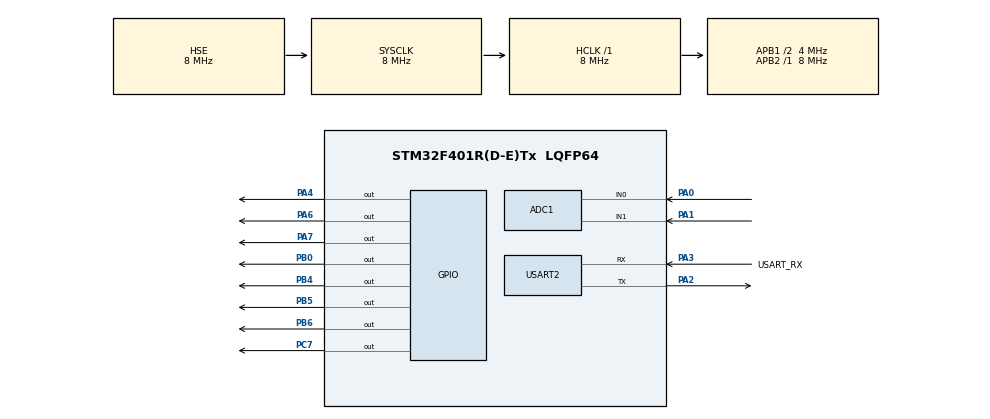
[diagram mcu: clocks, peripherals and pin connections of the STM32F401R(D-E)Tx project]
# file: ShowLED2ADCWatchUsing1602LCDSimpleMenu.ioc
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ADC1.Channel-0\#ChannelRegularConversion=ADC_CHANNEL_0
ADC1.Channel-1\#ChannelRegularConversion=ADC_CHANNEL_1
ADC1.ContinuousConvMode=ENABLE
ADC1.NbrOfConversion=2
ADC1.NbrOfConversionFlag=1
ADC1.Rank-0\#ChannelRegularConversion=1
ADC1.Rank-1\#ChannelRegularConversion=2
ADC1.SamplingTime-0\#ChannelRegularConversion=ADC_SAMPLETIME_15CYCLES
ADC1.SamplingTime-1\#ChannelRegularConversion=ADC_SAMPLETIME_15CYCLES
ADC1.ScanConvMode=ENABLE
ADC1.master=1
Mcu.Family=STM32F4
Mcu.Name=STM32F401R(D-E)Tx
Mcu.Package=LQFP64
NVIC.PriorityGroup=NVIC_PRIORITYGROUP_0
NVIC.USART2_IRQn=true\:0\:0\:false\:false\:true\:true\:true\:true
PA0-WKUP.Signal=ADCx_IN0
PA1.Signal=ADCx_IN1
PA13.Mode=Serial_Wire
PA13.Signal=SYS_JTMS-SWDIO
PA14.Mode=Serial_Wire
PA14.Signal=SYS_JTCK-SWCLK
PA2.Mode=Asynchronous
PA2.Signal=USART2_TX
PA3.GPIO_Label=USART_RX
PA3.GPIO_Mode=GPIO_MODE_AF_PP
PA3.GPIO_PuPd=GPIO_NOPULL
PA3.GPIO_Speed=GPIO_SPEED_FREQ_LOW
PA3.Mode=Asynchronous
PA3.Signal=USART2_RX
PA4.Signal=GPIO_Output
PA6.Signal=GPIO_Output
PA7.Signal=GPIO_Output
PB0.Signal=GPIO_Output
PB4.Signal=GPIO_Output
PB5.Signal=GPIO_Output
PB6.Signal=GPIO_Output
PC14-OSC32_IN.Mode=LSE-External-Oscillator
PC14-OSC32_IN.Signal=RCC_OSC32_IN
PC15-OSC32_OUT.Mode=LSE-External-Oscillator
PC15-OSC32_OUT.Signal=RCC_OSC32_OUT
PC7.Signal=GPIO_Output
PH0\ -\ OSC_IN.Mode=HSE-External-Clock-Source
PH0\ -\ OSC_IN.Signal=RCC_OSC_IN
PH1\ -\ OSC_OUT.Mode=HSE-External-Clock-Source
PH1\ -\ OSC_OUT.Signal=RCC_OSC_OUT
ProjectManager.HeapSize=0x200
ProjectManager.StackSize=0x400
ProjectManager.TargetToolchain=CMake
RCC.48MHZClocksFreq_Value=24000000
RCC.AHBFreq_Value=8000000
RCC.APB1CLKDivider=RCC_HCLK_DIV2
RCC.APB1Freq_Value=4000000
RCC.APB1TimFreq_Value=8000000
RCC.APB2Freq_Value=8000000
RCC.APB2TimFreq_Value=8000000
RCC.CortexFreq_Value=8000000
RCC.EnbaleCSS=true
RCC.HCLKFreq_Value=8000000
RCC.HSE_VALUE=8000000
RCC.HSI_VALUE=16000000
RCC.PLLN=336
RCC.PLLP=RCC_PLLP_DIV4
RCC.PLLQ=7
RCC.PLLSourceVirtual=RCC_PLLSOURCE_HSE
RCC.RCC_RTC_Clock_Source=RCC_RTCCLKSOURCE_LSE
RCC.SYSCLKFreq_VALUE=8000000
RCC.SYSCLKSource=RCC_SYSCLKSOURCE_HSE
RCC.VCOOutputFreq_Value=168000000
SH.ADCx_IN0.0=ADC1_IN0,IN0
SH.ADCx_IN1.0=ADC1_IN1,IN1
USART2.VirtualMode=VM_ASYNC
VP_RTC_VS_RTC_Activate.Mode=RTC_Enabled
VP_RTC_VS_RTC_Calendar.Mode=RTC_Calendar
board=NUCLEO-F401RE

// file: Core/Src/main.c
/* USER CODE BEGIN Header */
/**
  ******************************************************************************
  * @file           : main.c
  * @brief          : Main program body
  ******************************************************************************
  * @attention
  *
  * Copyright (c) 2025 STMicroelectronics.
  * All rights reserved.
  *
  * This software is licensed under terms that can be found in the LICENSE file
  * in the root directory of this software component.
  * If no LICENSE file comes with this software, it is provided AS-IS.
  *
  ******************************************************************************
  */
/* USER CODE END Header */
#include "main.h"

/* USER CODE BEGIN Includes */
#include <stdio.h>
#include <string.h>
#include "lcd.h"
/* USER CODE END Includes */

/* USER CODE BEGIN PD */
#define MAIN_MENU  0
#define ADC_MENU   1
#define LED_MENU   2
#define WATCH_MENU 3

#define ROW  0
#define COLUMN 1
/* USER CODE END PD */

ADC_HandleTypeDef hadc1;

RTC_HandleTypeDef hrtc;

UART_HandleTypeDef huart2;

/* USER CODE BEGIN PV */

volatile int8_t cursorPosition[2] ;
volatile char uart2Command[3];

RTC_TimeTypeDef time;
RTC_DateTypeDef date;

volatile uint8_t menu;
/* USER CODE END PV */

void SystemClock_Config(void);
static void MX_GPIO_Init(void);
static void MX_ADC1_Init(void);
static void MX_RTC_Init(void);
static void MX_USART2_UART_Init(void);
/* USER CODE BEGIN PFP */

void TimeStringHanldler(char *data){

    HAL_RTC_GetTime(&hrtc, &time, RTC_FORMAT_BCD);
    HAL_RTC_GetDate(&hrtc, &date, RTC_FORMAT_BCD);

    sprintf(data,"%02d:%02d:%02d",time.Hours, time.Minutes, time.Seconds);

}

void MenuHandler(){

  if(strcmp(uart2Command, "ba") == 0){ menu = MAIN_MENU; }

  if(cursorPosition[ROW] == 0 && cursorPosition[COLUMN] == 0 && strcmp(uart2Command, "en") == 0) {menu = ADC_MENU;}

  if(cursorPosition[ROW] == 0 && cursorPosition[COLUMN] == 7 && strcmp(uart2Command, "en") == 0) {menu = LED_MENU;}

  if(cursorPosition[ROW] == 1 && cursorPosition[COLUMN] == 0 && strcmp(uart2Command, "en") == 0) {menu = WATCH_MENU;}

}

void HAL_UART_RxCpltCallback(UART_HandleTypeDef *huart){

    if (huart->Instance == USART2)
    {
        // Retrieve the context associated with the UART

        // char data[50];

        uart2Command[3] = '\0';

       CursorPositionHandler(cursorPosition);
       MenuHandler();

        // Lcd_clear(&lcd);

        // Restart UART reception
        HAL_UART_Receive_IT(huart, (uint8_t *)uart2Command, 2);
    }

}

void ADCStringHanldler( uint16_t *adcValue){

    HAL_ADC_Start(&hadc1);
    for(int i = 0; i<2 ; i++){
      HAL_ADC_PollForConversion(&hadc1, HAL_MAX_DELAY);
      adcValue[i] =  HAL_ADC_GetValue(&hadc1);
    }

    if(adcValue[0] < 2000 && adcValue[1] < 2010){HAL_GPIO_WritePin(GPIOA,GPIO_PIN_4,SET); HAL_GPIO_WritePin(GPIOB,GPIO_PIN_0,SET); }
    if(adcValue[0] < 2000 && adcValue[1] > 2020){HAL_GPIO_WritePin(GPIOA,GPIO_PIN_4,SET); HAL_GPIO_WritePin(GPIOB,GPIO_PIN_0,RESET); }
    if(adcValue[0] > 2050 && adcValue[1] < 2010){HAL_GPIO_WritePin(GPIOA,GPIO_PIN_4,RESET); HAL_GPIO_WritePin(GPIOB,GPIO_PIN_0,SET); }
    if(adcValue[0] > 2050 && adcValue[1] > 2020){HAL_GPIO_WritePin(GPIOA,GPIO_PIN_4,RESET); HAL_GPIO_WritePin(GPIOB,GPIO_PIN_0,RESET); }

  // return adcValue;

}

void LEDStateStringHandler(char * data){
  uint8_t ledState[2];

  ledState[0] = !HAL_GPIO_ReadPin(GPIOA, GPIO_PIN_4);
  ledState[1] = !HAL_GPIO_ReadPin(GPIOB, GPIO_PIN_0);

  sprintf(data, "LED0 %d, LED1 %d\r\n",ledState[0], ledState[1]);
}

Lcd_HandleTypeDef LCDInitial(){

  Lcd_HandleTypeDef lcd;
    // Lcd_PortType ports[] = { D4_GPIO_Port, D5_GPIO_Port, D6_GPIO_Port, D7_GPIO_Port };
  Lcd_PortType ports[] = { GPIOC, GPIOB, GPIOA, GPIOA };
  // Lcd_PinType pins[] = {D4_Pin, D5_Pin, D6_Pin, D7_Pin};
  Lcd_PinType pins[] = {GPIO_PIN_7, GPIO_PIN_6, GPIO_PIN_7, GPIO_PIN_6};

  // Lcd_create(ports, pins, RS_GPIO_Port, RS_Pin, EN_GPIO_Port, EN_Pin, LCD_4_BIT_MODE);
  lcd = Lcd_create(ports, pins, GPIOB, GPIO_PIN_5, GPIOB, GPIO_PIN_4, LCD_4_BIT_MODE);
  Lcd_cursor(&lcd, 0,0);
  Lcd_string(&lcd, "Hello Mahsa <3");
  Lcd_cursor(&lcd, 1,0);
  Lcd_string(&lcd, "Select an option");
  HAL_Delay (2000);

  return lcd;
}

void CursorInitial(uint8_t *cursorPosition){
  cursorPosition[ROW] = 0;
  cursorPosition[COLUMN] = 0;

}

void CursorPositionHandler(uint8_t *cursorPosition){
  if(strcmp(uart2Command , "up") == 0) {

          if(cursorPosition[ROW] == 0)
                cursorPosition[ROW] = 1;
          else cursorPosition[ROW] -= 1;
        cursorPosition[COLUMN] = 0; // cursor should not be at (1,7). so the culumn is reset to zero

        sprintf(uart2Command, "w8");

      }

      if(strcmp(uart2Command , "dw") == 0 ){

         cursorPosition[ROW] += 1;
        if(cursorPosition[ROW] > 1)
                cursorPosition[ROW] = 0;
        cursorPosition[COLUMN] = 0; // cursor should not be at (1,7). so the culumn is reset to zero

        sprintf(uart2Command, "w8");

      }

      if(strcmp(uart2Command , "ri") == 0 ){
        cursorPosition[COLUMN] += 7;
        if(cursorPosition[COLUMN] > 13)
                cursorPosition[COLUMN] = 0;

        if(cursorPosition[ROW] == 1) cursorPosition[COLUMN] = 0; // cursor should not be at (1,7). so the culumn is reset to zero

        sprintf(uart2Command, "w8");

      }

        if(strcmp(uart2Command , "le") == 0 ){
              if(cursorPosition[COLUMN] == 0)
                  cursorPosition[COLUMN] = 7;
              else
                  cursorPosition[COLUMN] -= 7;

        if(cursorPosition[ROW] == 1) cursorPosition[COLUMN] = 0; // cursor should not be at (1,7). so the culumn is reset to zero

        sprintf(uart2Command, "w8");

      }

}

void MenuInitial(){
  menu = MAIN_MENU;

}
/* USER CODE END PFP */

int main(void)
{

  /* USER CODE BEGIN 1 */
  char lcdData[16];
  uint16_t adcValue[2];
  /* USER CODE END 1 */

  /* MCU Configuration--------------------------------------------------------*/

  /* Reset of all peripherals, Initializes the Flash interface and the Systick. */
  HAL_Init();

  /* Configure the system clock */
  SystemClock_Config();

  /* Initialize all configured peripherals */
  MX_GPIO_Init();
  MX_ADC1_Init();
  MX_RTC_Init();
  MX_USART2_UART_Init();
  /* USER CODE BEGIN 2 */

  HAL_UART_Receive_IT(&huart2,(uint8_t *)uart2Command,2);

  Lcd_PortType ports[] = { GPIOC, GPIOB, GPIOA, GPIOA };
  // Lcd_PinType pins[] = {D4_Pin, D5_Pin, D6_Pin, D7_Pin};
  Lcd_PinType pins[] = {GPIO_PIN_7, GPIO_PIN_6, GPIO_PIN_7, GPIO_PIN_6};
  Lcd_HandleTypeDef lcd;
  lcd = Lcd_create(ports, pins, GPIOB, GPIO_PIN_5, GPIOB, GPIO_PIN_4, LCD_4_BIT_MODE);

  MenuInitial();
  CursorInitial(cursorPosition);

  // Lcd_create(ports, pins, RS_GPIO_Port, RS_Pin, EN_GPIO_Port, EN_Pin, LCD_4_BIT_MODE);

  Lcd_cursor(&lcd, 0,0);
  Lcd_string(&lcd, "Hello Mahsa <3");
  Lcd_cursor(&lcd,1,0);
  Lcd_string(&lcd, "Select Option");

    HAL_Delay(2000);

    Lcd_clear(&lcd);

  /* USER CODE END 2 */

  /* Infinite loop */
  while (1)
  {

    /* USER CODE BEGIN 3 */

    TimeStringHanldler(lcdData);

    // HAL_UART_Transmit(&huart2, (uint8_t *)lcdData, strlen(lcdData), HAL_MAX_DELAY);

    // HAL_GPIO_TogglePin(GPIOA,GPIO_PIN_4);
    if(menu == MAIN_MENU){

      Lcd_clear(&lcd);

      Lcd_cursor(&lcd,cursorPosition[ROW], cursorPosition[COLUMN]);
      Lcd_string(&lcd, ">");

      Lcd_cursor(&lcd,0,1);
      Lcd_string(&lcd, "ADC");

      Lcd_cursor(&lcd,0,8);
      Lcd_string(&lcd, "LED");

      Lcd_cursor(&lcd,1,1);
      Lcd_string(&lcd, "Watch");
    }

    ADCStringHanldler(adcValue);
    if(menu == ADC_MENU){
      Lcd_clear(&lcd);

      Lcd_cursor(&lcd,0,0);
      sprintf(lcdData,"ADC0:%d",adcValue[0]);
      Lcd_string(&lcd, lcdData);

      Lcd_cursor(&lcd,1,0);
      sprintf(lcdData,"ADC1:%d",adcValue[1]);
      Lcd_string(&lcd, lcdData);
    }

    if(menu == LED_MENU){
      Lcd_clear(&lcd);

      Lcd_cursor(&lcd,0,0);
      sprintf(lcdData,"RED:%d",!HAL_GPIO_ReadPin(GPIOA, GPIO_PIN_4));
      Lcd_string(&lcd, lcdData);

      Lcd_cursor(&lcd,1,0);
      sprintf(lcdData,"BLUE:%d",!HAL_GPIO_ReadPin(GPIOB, GPIO_PIN_0));
      Lcd_string(&lcd, lcdData);
    }

    if(menu == WATCH_MENU){
      Lcd_clear(&lcd);

      TimeStringHanldler(lcdData);

      Lcd_cursor(&lcd,0,0);

      Lcd_string(&lcd, lcdData);

    }

    HAL_Delay(100);

  /* USER CODE END 3 */
  }
}

void SystemClock_Config(void)
{
  RCC_OscInitTypeDef RCC_OscInitStruct = {0};
  RCC_ClkInitTypeDef RCC_ClkInitStruct = {0};

  /** Configure the main internal regulator output voltage
  */
  __HAL_RCC_PWR_CLK_ENABLE();
  __HAL_PWR_VOLTAGESCALING_CONFIG(PWR_REGULATOR_VOLTAGE_SCALE2);

  /** Initializes the RCC Oscillators according to the specified parameters
  * in the RCC_OscInitTypeDef structure.
  */
  RCC_OscInitStruct.OscillatorType = RCC_OSCILLATORTYPE_HSE|RCC_OSCILLATORTYPE_LSE;
  RCC_OscInitStruct.HSEState = RCC_HSE_BYPASS;
  RCC_OscInitStruct.LSEState = RCC_LSE_ON;
  RCC_OscInitStruct.PLL.PLLState = RCC_PLL_NONE;
  if (HAL_RCC_OscConfig(&RCC_OscInitStruct) != HAL_OK)
  {
    Error_Handler();
  }

  /** Initializes the CPU, AHB and APB buses clocks
  */
  RCC_ClkInitStruct.ClockType = RCC_CLOCKTYPE_HCLK|RCC_CLOCKTYPE_SYSCLK
                              |RCC_CLOCKTYPE_PCLK1|RCC_CLOCKTYPE_PCLK2;
  RCC_ClkInitStruct.SYSCLKSource = RCC_SYSCLKSOURCE_HSE;
  RCC_ClkInitStruct.AHBCLKDivider = RCC_SYSCLK_DIV1;
  RCC_ClkInitStruct.APB1CLKDivider = RCC_HCLK_DIV2;
  RCC_ClkInitStruct.APB2CLKDivider = RCC_HCLK_DIV1;

  if (HAL_RCC_ClockConfig(&RCC_ClkInitStruct, FLASH_LATENCY_0) != HAL_OK)
  {
    Error_Handler();
  }

  /** Enables the Clock Security System
  */
  HAL_RCC_EnableCSS();
}

static void MX_ADC1_Init(void)
{

  ADC_ChannelConfTypeDef sConfig = {0};

  /** Configure the global features of the ADC (Clock, Resolution, Data Alignment and number of conversion)
  */
  hadc1.Instance = ADC1;
  hadc1.Init.ClockPrescaler = ADC_CLOCK_SYNC_PCLK_DIV2;
  hadc1.Init.Resolution = ADC_RESOLUTION_12B;
  hadc1.Init.ScanConvMode = ENABLE;
  hadc1.Init.ContinuousConvMode = ENABLE;
  hadc1.Init.DiscontinuousConvMode = DISABLE;
  hadc1.Init.ExternalTrigConvEdge = ADC_EXTERNALTRIGCONVEDGE_NONE;
  hadc1.Init.ExternalTrigConv = ADC_SOFTWARE_START;
  hadc1.Init.DataAlign = ADC_DATAALIGN_RIGHT;
  hadc1.Init.NbrOfConversion = 2;
  hadc1.Init.DMAContinuousRequests = DISABLE;
  hadc1.Init.EOCSelection = ADC_EOC_SINGLE_CONV;
  if (HAL_ADC_Init(&hadc1) != HAL_OK)
  {
    Error_Handler();
  }

  /** Configure for the selected ADC regular channel its corresponding rank in the sequencer and its sample time.
  */
  sConfig.Channel = ADC_CHANNEL_0;
  sConfig.Rank = 1;
  sConfig.SamplingTime = ADC_SAMPLETIME_15CYCLES;
  if (HAL_ADC_ConfigChannel(&hadc1, &sConfig) != HAL_OK)
  {
    Error_Handler();
  }

  /** Configure for the selected ADC regular channel its corresponding rank in the sequencer and its sample time.
  */
  sConfig.Channel = ADC_CHANNEL_1;
  sConfig.Rank = 2;
  if (HAL_ADC_ConfigChannel(&hadc1, &sConfig) != HAL_OK)
  {
    Error_Handler();
  }

}

static void MX_RTC_Init(void)
{

  RTC_TimeTypeDef sTime = {0};
  RTC_DateTypeDef sDate = {0};

  /** Initialize RTC Only
  */
  hrtc.Instance = RTC;
  hrtc.Init.HourFormat = RTC_HOURFORMAT_24;
  hrtc.Init.AsynchPrediv = 127;
  hrtc.Init.SynchPrediv = 255;
  hrtc.Init.OutPut = RTC_OUTPUT_DISABLE;
  hrtc.Init.OutPutPolarity = RTC_OUTPUT_POLARITY_HIGH;
  hrtc.Init.OutPutType = RTC_OUTPUT_TYPE_OPENDRAIN;
  if (HAL_RTC_Init(&hrtc) != HAL_OK)
  {
    Error_Handler();
  }

  /** Initialize RTC and set the Time and Date
  */
  sTime.Hours = 0x0;
  sTime.Minutes = 0x0;
  sTime.Seconds = 0x0;
  sTime.DayLightSaving = RTC_DAYLIGHTSAVING_NONE;
  sTime.StoreOperation = RTC_STOREOPERATION_RESET;
  if (HAL_RTC_SetTime(&hrtc, &sTime, RTC_FORMAT_BCD) != HAL_OK)
  {
    Error_Handler();
  }
  sDate.WeekDay = RTC_WEEKDAY_MONDAY;
  sDate.Month = RTC_MONTH_JANUARY;
  sDate.Date = 0x1;
  sDate.Year = 0x0;

  if (HAL_RTC_SetDate(&hrtc, &sDate, RTC_FORMAT_BCD) != HAL_OK)
  {
    Error_Handler();
  }

}

static void MX_USART2_UART_Init(void)
{

  huart2.Instance = USART2;
  huart2.Init.BaudRate = 115200;
  huart2.Init.WordLength = UART_WORDLENGTH_8B;
  huart2.Init.StopBits = UART_STOPBITS_1;
  huart2.Init.Parity = UART_PARITY_NONE;
  huart2.Init.Mode = UART_MODE_TX_RX;
  huart2.Init.HwFlowCtl = UART_HWCONTROL_NONE;
  huart2.Init.OverSampling = UART_OVERSAMPLING_16;
  if (HAL_UART_Init(&huart2) != HAL_OK)
  {
    Error_Handler();
  }

}

static void MX_GPIO_Init(void)
{
  GPIO_InitTypeDef GPIO_InitStruct = {0};

  /* GPIO Ports Clock Enable */
  __HAL_RCC_GPIOC_CLK_ENABLE();
  __HAL_RCC_GPIOH_CLK_ENABLE();
  __HAL_RCC_GPIOA_CLK_ENABLE();
  __HAL_RCC_GPIOB_CLK_ENABLE();

  /*Configure GPIO pin Output Level */
  HAL_GPIO_WritePin(GPIOA, GPIO_PIN_4|GPIO_PIN_6|GPIO_PIN_7, GPIO_PIN_RESET);

  /*Configure GPIO pin Output Level */
  HAL_GPIO_WritePin(GPIOB, GPIO_PIN_0|GPIO_PIN_4|GPIO_PIN_5|GPIO_PIN_6, GPIO_PIN_RESET);

  /*Configure GPIO pin Output Level */
  HAL_GPIO_WritePin(GPIOC, GPIO_PIN_7, GPIO_PIN_RESET);

  /*Configure GPIO pins : PA4 PA6 PA7 */
  GPIO_InitStruct.Pin = GPIO_PIN_4|GPIO_PIN_6|GPIO_PIN_7;
  GPIO_InitStruct.Mode = GPIO_MODE_OUTPUT_PP;
  GPIO_InitStruct.Pull = GPIO_NOPULL;
  GPIO_InitStruct.Speed = GPIO_SPEED_FREQ_LOW;
  HAL_GPIO_Init(GPIOA, &GPIO_InitStruct);

  /*Configure GPIO pins : PB0 PB4 PB5 PB6 */
  GPIO_InitStruct.Pin = GPIO_PIN_0|GPIO_PIN_4|GPIO_PIN_5|GPIO_PIN_6;
  GPIO_InitStruct.Mode = GPIO_MODE_OUTPUT_PP;
  GPIO_InitStruct.Pull = GPIO_NOPULL;
  GPIO_InitStruct.Speed = GPIO_SPEED_FREQ_LOW;
  HAL_GPIO_Init(GPIOB, &GPIO_InitStruct);

  /*Configure GPIO pin : PC7 */
  GPIO_InitStruct.Pin = GPIO_PIN_7;
  GPIO_InitStruct.Mode = GPIO_MODE_OUTPUT_PP;
  GPIO_InitStruct.Pull = GPIO_NOPULL;
  GPIO_InitStruct.Speed = GPIO_SPEED_FREQ_LOW;
  HAL_GPIO_Init(GPIOC, &GPIO_InitStruct);

}

void Error_Handler(void)
{
  __disable_irq();
  while (1)
  {
  }
}
